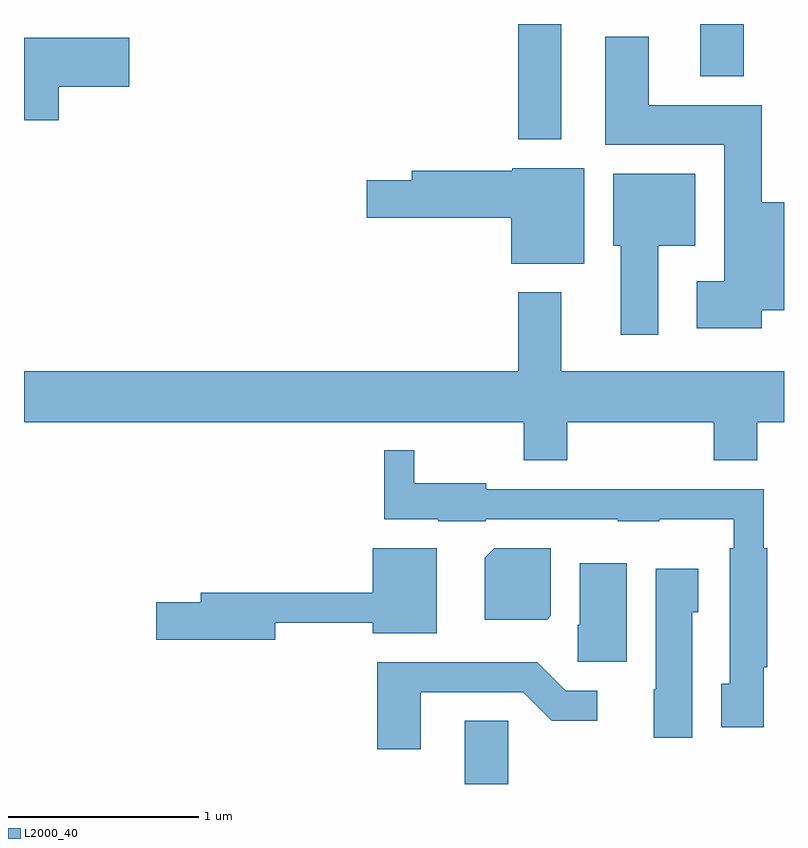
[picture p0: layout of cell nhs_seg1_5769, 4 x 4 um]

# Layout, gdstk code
import gdstk
lib = gdstk.Library(unit=1e-6, precision=1e-09)
def R(c, l, rs):  # rectangles x0, y0, x1, y1
    for r in rs: c.add(gdstk.rectangle(r[:2], r[2:], *l))
def P(c, l, *ps):  # polygons
    for p in ps: c.add(gdstk.Polygon(p, *l))
L2000_40 = (2000, 40)

nhs_seg1_5769 = lib.new_cell('nhs_seg1_5769')
R(nhs_seg1_5769, L2000_40, [(361.931,857.712,362.159,858.044), (362.211,861.106,362.439,861.712), (363.171,861.436,363.399,861.712)])
P(nhs_seg1_5769, L2000_40, [(363.494,860.206),(363.611,860.206),(363.611,860.774),(363.494,860.774),(363.494,861.284),(362.899,861.284),(362.899,861.644),(362.671,861.644),(362.671,861.076),(363.296,861.076),(363.296,860.359),(363.151,860.359),(363.151,860.111),(363.494,860.111)],
  [(359.794,861.381),(360.164,861.381),(360.164,861.639),(359.611,861.639),(359.611,861.206),(359.794,861.206)],
  [(362.559,860.954),(362.18,860.954),(362.18,860.939),(361.651,860.939),(361.651,860.889),(361.416,860.889),(361.416,860.691),(362.176,860.691),(362.176,860.451),(362.559,860.451)],
  [(362.949,860.546),(363.144,860.546),(363.144,860.924),(362.711,860.924),(362.711,860.546),(362.751,860.546),(362.751,860.076),(362.949,860.076)],
  [(362.469,859.616),(363.241,859.616),(363.241,859.416),(363.469,859.416),(363.469,859.616),(363.611,859.616),(363.611,859.884),(362.439,859.884),(362.439,860.299),(362.211,860.299),(362.211,859.884),(359.611,859.884),(359.611,859.616),(362.241,859.616),(362.241,859.416),(362.469,859.416)],
  [(363.504,858.326),(363.524,858.326),(363.524,858.954),(363.504,858.954),(363.504,859.264),(362.044,859.264),(362.044,859.294),(361.664,859.294),(361.664,859.468),(361.506,859.468),(361.506,859.106),(361.79,859.106),(361.79,859.096),(362.04,859.096),(362.04,859.106),(362.735,859.106),(362.735,859.096),(362.955,859.096),(362.955,859.106),(363.346,859.106),(363.346,858.954),(363.326,858.954),(363.326,858.239),(363.281,858.239),(363.281,858.011),(363.504,858.011)],
  [(360.934,858.561),(361.446,858.561),(361.446,858.506),(361.784,858.506),(361.784,858.954),(361.446,858.954),(361.446,858.719),(360.541,858.719),(360.541,858.669),(360.306,858.669),(360.306,858.471),(360.934,858.471)],
  [(362.384,858.597),(362.384,858.954),(362.087,858.954),(362.036,858.904),(362.036,858.576),(362.364,858.576)],
  [(362.784,858.874),(362.536,858.874),(362.536,858.55),(362.526,858.55),(362.526,858.356),(362.784,858.356)],
  [(363.129,858.616),(363.159,858.616),(363.159,858.844),(362.936,858.844),(362.936,858.21),(362.926,858.21),(362.926,857.956),(363.129,857.956)],
  [(361.699,858.196),(362.239,858.196),(362.389,858.046),(362.628,858.046),(362.628,858.204),(362.462,858.204),(362.312,858.354),(361.471,858.354),(361.471,857.896),(361.699,857.896)])

lib.write_gds('nhs_seg1_5769.gds')
